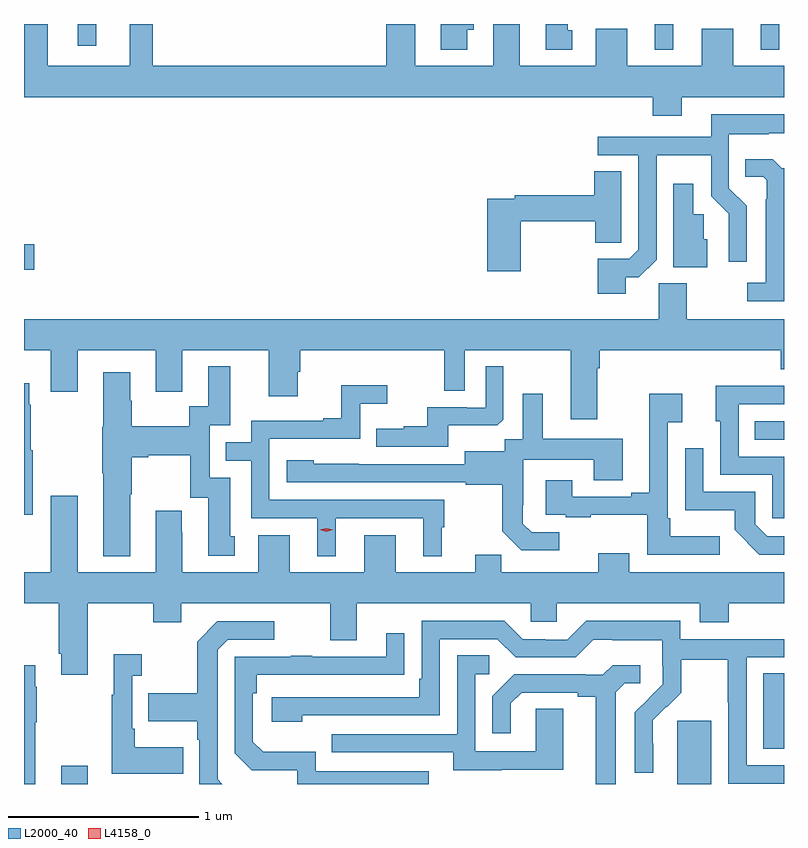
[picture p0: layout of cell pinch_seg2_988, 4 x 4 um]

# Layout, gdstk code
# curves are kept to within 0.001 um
import gdstk
lib = gdstk.Library(unit=1e-6, precision=1e-09)
def R(c, l, rs):  # rectangles x0, y0, x1, y1
    for r in rs: c.add(gdstk.rectangle(r[:2], r[2:], *l))
def P(c, l, *ps):  # polygons
    for p in ps: c.add(gdstk.Polygon(p, *l))
L2000_40 = (2000, 40)
L4158_0 = (4158, 0)

pinch_seg2_988 = lib.new_cell('pinch_seg2_988')
R(pinch_seg2_988, L2000_40, [(156.329,590.741,156.469,590.836), (159.572,590.741,159.751,591.075), (160.025,590.926,160.133,591.323), (159.979,592.554,160.133,592.65), (156.133,593.447,156.187,593.582), (159.452,594.605,159.55,594.741), (160.01,594.605,160.108,594.741), (156.416,594.627,156.514,594.741)])
P(pinch_seg2_988, L2000_40, [(159.443,594.257),(159.595,594.257),(159.595,594.356),(160.133,594.356),(160.133,594.52),(159.865,594.52),(159.865,594.715),(159.701,594.715),(159.701,594.52),(159.307,594.52),(159.307,594.715),(159.143,594.715),(159.143,594.52),(158.743,594.52),(158.743,594.731),(158.741,594.731),(158.741,594.741),(158.603,594.741),(158.603,594.52),(158.191,594.52),(158.191,594.741),(158.039,594.741),(158.039,594.52),(156.811,594.52),(156.811,594.741),(156.689,594.741),(156.689,594.52),(156.259,594.52),(156.259,594.741),(156.133,594.741),(156.133,594.356),(159.443,594.356)],
  [(159.019,594.708),(158.995,594.708),(158.995,594.741),(158.879,594.741),(158.879,594.606),(159.019,594.606)],
  [(158.467,594.71),(158.5,594.71),(158.5,594.741),(158.327,594.741),(158.327,594.605),(158.467,594.605)],
  [(159.301,593.407),(159.369,593.407),(159.462,593.499),(159.462,594.05),(159.75,594.05),(159.75,593.834),(159.842,593.742),(159.842,593.49),(159.936,593.49),(159.936,593.784),(159.843,593.877),(159.843,594.161),(160.052,594.161),(160.052,594.165),(160.133,594.165),(160.133,594.265),(159.749,594.265),(159.749,594.147),(159.153,594.147),(159.153,594.051),(159.366,594.051),(159.366,593.553),(159.318,593.505),(159.154,593.505),(159.154,593.322),(159.301,593.322)],
  [(160.133,593.982),(160.122,593.982),(160.074,594.029),(159.928,594.029),(159.928,593.937),(160.023,593.937),(160.041,593.919),(160.041,593.819),(160.037,593.819),(160.037,593.379),(159.939,593.379),(159.939,593.283),(160.133,593.283)],
  [(158.748,593.704),(159.139,593.704),(159.139,593.59),(159.276,593.59),(159.276,593.698),(159.277,593.698),(159.277,593.966),(159.134,593.966),(159.134,593.84),(158.716,593.84),(158.716,593.82),(158.57,593.82),(158.57,593.439),(158.748,593.439)],
  [(159.73,593.607),(159.711,593.607),(159.711,593.739),(159.655,593.739),(159.655,593.899),(159.551,593.899),(159.551,593.462),(159.73,593.462)],
  [(159.151,592.928),(159.164,592.928),(159.164,593.024),(160.115,593.024),(160.115,592.925),(160.133,592.925),(160.133,593.188),(159.621,593.188),(159.621,593.377),(159.474,593.377),(159.474,593.188),(156.133,593.188),(156.133,593.024),(156.275,593.024),(156.275,592.806),(156.415,592.806),(156.415,593.024),(156.827,593.024),(156.827,592.806),(156.967,592.806),(156.967,593.024),(157.421,593.024),(157.421,592.782),(157.573,592.782),(157.573,592.911),(157.586,592.911),(157.586,593.024),(158.346,593.024),(158.346,592.81),(158.454,592.81),(158.454,593.024),(159.011,593.024),(159.011,592.662),(159.151,592.662)],
  [(156.691,592.267),(156.699,592.267),(156.699,592.46),(156.787,592.46),(156.787,592.472),(157.007,592.472),(157.007,592.248),(157.103,592.248),(157.103,591.942),(157.243,591.942),(157.243,592.044),(157.219,592.044),(157.219,592.353),(157.11,592.353),(157.11,592.629),(157.219,592.629),(157.219,592.939),(157.103,592.939),(157.103,592.73),(157.002,592.73),(157.002,592.624),(156.699,592.624),(156.699,592.758),(156.691,592.758),(156.691,592.909),(156.551,592.909),(156.551,592.62),(156.544,592.62),(156.544,592.376),(156.551,592.376),(156.551,591.941),(156.691,591.941)],
  [(158.365,592.628),(158.623,592.628),(158.655,592.659),(158.655,592.939),(158.562,592.939),(158.562,592.722),(158.462,592.722),(158.462,592.725),(158.255,592.725),(158.255,592.624),(158.131,592.624),(158.131,592.612),(157.987,592.612),(157.987,592.515),(158.365,592.515)],
  [(156.178,592.497),(156.168,592.497),(156.168,592.736),(156.16,592.736),(156.16,592.849),(156.133,592.849),(156.133,592.157),(156.178,592.157)],
  [(157.774,592.14),(158.234,592.14),(158.234,591.941),(158.332,591.941),(158.332,592.092),(158.344,592.092),(158.344,592.236),(157.425,592.236),(157.425,592.557),(157.902,592.557),(157.902,592.742),(158.044,592.742),(158.044,592.841),(157.804,592.841),(157.804,592.666),(157.709,592.666),(157.709,592.653),(157.329,592.653),(157.329,592.539),(157.195,592.539),(157.195,592.443),(157.329,592.443),(157.329,592.14),(157.676,592.14),(157.676,591.941),(157.774,591.941)],
  [(160.133,592.464),(159.894,592.464),(159.894,592.74),(160.133,592.74),(160.133,592.836),(159.991,592.836),(159.991,592.838),(159.773,592.838),(159.773,592.65),(159.798,592.65),(159.798,592.368),(160.071,592.368),(160.071,592.14),(160.133,592.14)],
  [(159.796,592.045),(159.535,592.045),(159.535,592.141),(159.522,592.141),(159.522,592.646),(159.598,592.646),(159.598,592.795),(159.425,592.795),(159.425,592.273),(159.329,592.273),(159.329,592.254),(159.019,592.254),(159.019,592.339),(158.879,592.339),(158.879,592.158),(158.983,592.158),(158.983,592.146),(159.115,592.146),(159.115,592.157),(159.414,592.157),(159.414,591.948),(159.796,591.948)],
  [(158.95,592.065),(158.805,592.065),(158.758,592.112),(158.758,592.207),(158.76,592.207),(158.76,592.448),(159.131,592.448),(159.131,592.339),(159.283,592.339),(159.283,592.558),(158.863,592.558),(158.863,592.795),(158.759,592.795),(158.759,592.556),(158.664,592.556),(158.664,592.492),(158.453,592.492),(158.453,592.425),(157.659,592.426),(157.659,592.444),(157.515,592.444),(157.515,592.329),(158.457,592.329),(158.457,592.317),(158.649,592.317),(158.649,592.071),(158.749,591.971),(158.95,591.971)],
  [(160.133,592.044),(160.044,592.044),(159.981,592.107),(159.981,592.278),(159.708,592.278),(159.708,592.507),(159.612,592.507),(159.612,592.181),(159.874,592.181),(159.874,592.079),(160.004,591.948),(160.133,591.948)],
  [(156.469,591.692),(156.814,591.692),(156.814,591.593),(156.961,591.593),(156.961,591.692),(157.745,591.692),(157.745,591.498),(157.885,591.498),(157.885,591.692),(158.799,591.692),(158.799,591.594),(158.937,591.594),(158.937,591.692),(159.689,591.692),(159.689,591.593),(159.842,591.593),(159.842,591.692),(160.133,591.692),(160.133,591.856),(159.319,591.856),(159.319,591.955),(159.155,591.955),(159.155,591.856),(158.645,591.856),(158.645,591.947),(158.507,591.947),(158.507,591.856),(158.089,591.856),(158.089,592.051),(157.925,592.051),(157.925,591.856),(157.531,591.856),(157.531,592.051),(157.367,592.051),(157.367,591.856),(156.967,591.856),(156.967,592.067),(156.964,592.067),(156.964,592.18),(156.827,592.18),(156.827,591.856),(156.415,591.856),(156.415,592.258),(156.275,592.258),(156.275,591.856),(156.133,591.856),(156.133,591.692),(156.317,591.692),(156.317,591.427),(156.329,591.427),(156.329,591.315),(156.469,591.315)],
  [(160.133,590.841),(159.936,590.841),(159.936,591.408),(160.133,591.408),(160.133,591.504),(159.588,591.504),(159.588,591.601),(159.091,591.601),(158.991,591.501),(158.876,591.501),(158.876,591.504),(158.757,591.504),(158.661,591.6),(158.226,591.6),(158.226,591.295),(158.213,591.295),(158.213,591.198),(157.437,591.198),(157.437,591.068),(157.598,591.068),(157.598,591.102),(158.322,591.102),(158.322,591.504),(158.625,591.504),(158.721,591.408),(159.036,591.408),(159.129,591.501),(159.229,591.501),(159.229,591.497),(159.492,591.497),(159.492,591.363),(159.494,591.363),(159.494,591.266),(159.348,591.118),(159.348,590.8),(159.444,590.8),(159.443,591.077),(159.513,591.147),(159.516,591.144),(159.593,591.221),(159.593,591.396),(159.838,591.396),(159.838,591.172),(159.84,591.172),(159.84,590.743),(160.133,590.743)],
  [(157.152,590.766),(157.152,591.447),(157.206,591.501),(157.45,591.501),(157.45,591.597),(157.149,591.597),(157.044,591.491),(157.044,591.219),(156.787,591.219),(156.787,591.071),(157.044,591.071),(157.044,590.975),(157.056,590.975),(157.056,590.741),(157.177,590.741)],
  [(158.263,590.808),(157.668,590.808),(157.668,590.911),(157.391,590.911),(157.338,590.964),(157.338,591.218),(157.358,591.218),(157.358,591.315),(158.135,591.316),(158.135,591.535),(158.039,591.535),(158.039,591.411),(157.649,591.411),(157.649,591.416),(157.537,591.416),(157.537,591.411),(157.242,591.411),(157.242,590.904),(157.332,590.814),(157.572,590.814),(157.572,590.741),(158.263,590.741)],
  [(156.971,590.935),(156.715,590.935),(156.715,591.031),(156.702,591.031),(156.702,591.311),(156.754,591.311),(156.754,591.424),(156.605,591.424),(156.605,591.211),(156.594,591.211),(156.594,590.795),(156.971,590.795)],
  [(158.647,590.817),(158.971,590.817),(158.971,591.137),(158.826,591.137),(158.826,590.913),(158.508,590.913),(158.508,591.318),(158.581,591.318),(158.581,591.419),(158.412,591.419),(158.412,591.003),(157.753,591.003),(157.753,590.907),(158.393,590.907),(158.393,590.813),(158.647,590.813)],
  [(156.193,591.065),(156.201,591.065),(156.201,591.254),(156.193,591.254),(156.193,591.367),(156.133,591.367),(156.133,590.741),(156.193,590.741)],
  [(159.247,591.223),(159.294,591.27),(159.376,591.27),(159.376,591.367),(159.232,591.367),(159.18,591.315),(159.086,591.315),(159.086,591.318),(158.714,591.318),(158.598,591.202),(158.598,591.009),(158.695,591.009),(158.695,591.165),(158.752,591.222),(159.047,591.222),(159.047,591.2),(159.143,591.2),(159.143,590.741),(159.247,590.741)])
P(pinch_seg2_988, L4158_0, [(157.725,592.068),(157.689,592.078),(157.689,592.078),(157.689,592.078),(157.725,592.088),(157.761,592.078),(157.761,592.078),(157.761,592.078)])

lib.write_gds('pinch_seg2_988.gds')
